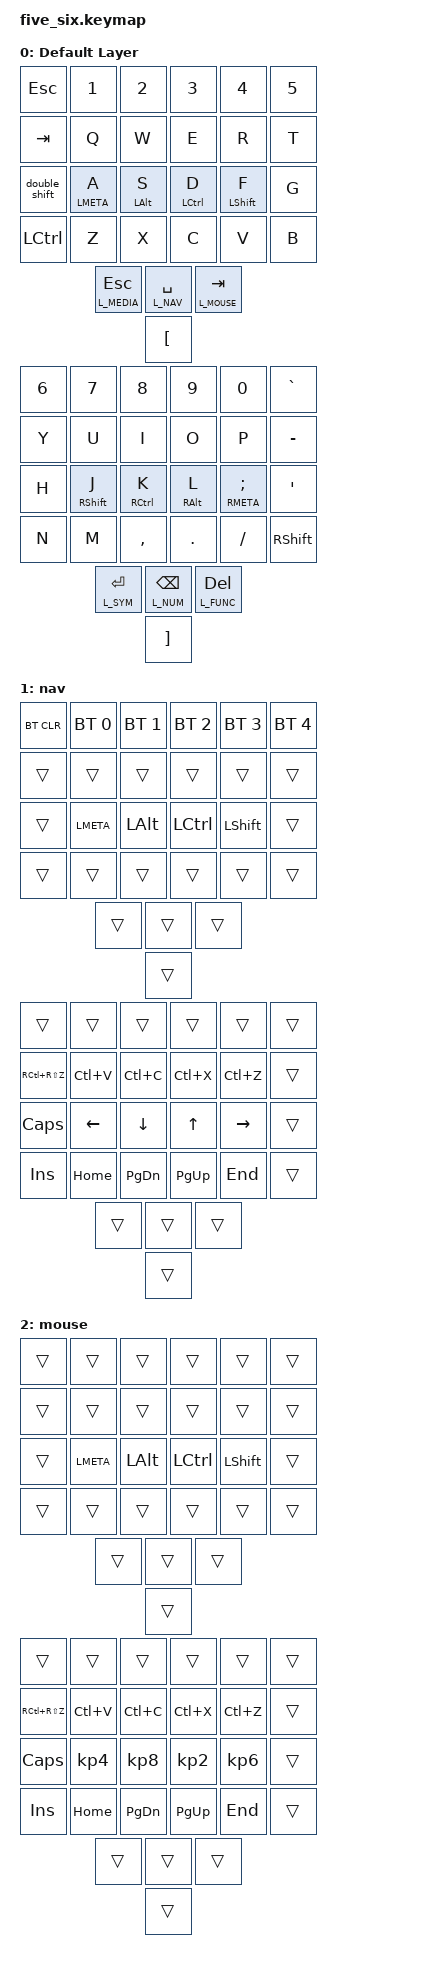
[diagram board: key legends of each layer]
/*
 * Copyright (c) 2020 The ZMK Contributors
 *
 * SPDX-License-Identifier: MIT
 */

#include <behaviors.dtsi>
#include <dt-bindings/zmk/keys.h>
#include <dt-bindings/zmk/bt.h>

#define L_BASE 0
#define L_NAV 1
#define L_MOUSE 2
#define L_QWERTY 3
#define L_NUM 4
#define L_SYM 5
#define L_FUNC 6
#define L_BT 7
#define L_MEDIA 8


// colemak macros
#define A_LMETA &mt LMETA A
#define R_LALT  &mt LALT R
#define S_LCTRL &mt LCTRL S
#define T_LSHFT &mt LSHFT T
#define N_RSHFT &mt RSHFT N
#define E_RCTRL &mt RCTRL E
#define I_RALT  &mt RALT I
#define O_RMETA &mt RMETA O

// qwerty versions
// a is the same
#define S_LALT  &mt LALT S
#define D_LCTRL &mt LCTRL D
#define F_LSHFT &mt LSHFT F
#define J_RSHFT &mt RSHFT J
#define K_RCTRL &mt RCTRL K
#define L_RALT  &mt RALT L
#define SEMI_RMETA &mt RMETA SEMI

// miryokulike
#define MEDIA_ESC &lt L_MEDIA ESC
#define NAV_SPC &lt L_NAV SPACE
#define MOUSE_TAB &lt L_MOUSE TAB 
#define SYM_ENT &lt L_SYM ENTER
#define NUM_BSPC &lt L_NUM BSPC
#define FUNC_DEL &lt L_FUNC DEL

#define ______ &trans

&caps_word {
    continue-list = <UNDERSCORE MINUS>;
};
&lt {
    tapping-term-ms = <200>;
    quick-tap-ms = <200>;
};

&mt {
    tapping-term-ms = <300>;
    quick-tap-ms = <200>;
};

// ┌───────────────┬───────────────┬───────────────┬───────────────┬───────────────┬───────────────┬───────────────┬───────────────┬───────────────┬───────────────┬───────────────┬───────────────┬───────────────┬───────────────┐
// ├───────────────┼───────────────┼───────────────┼───────────────┼───────────────┼───────────────┼───────────────┼───────────────┼───────────────┼───────────────┼───────────────┼───────────────┼───────────────┼───────────────┤
// ├───────────────┼───────────────┼───────────────┼───────────────┼───────────────┼───────────────┼───────────────┼───────────────┼───────────────┼───────────────┼───────────────┼───────────────┼───────────────┼───────────────┤
// ├───────────────┼───────────────┼───────────────┼───────────────┼───────────────┼───────────────┼───────────────┼───────────────┼───────────────┼───────────────┼───────────────┼───────────────┼───────────────┼───────────────┤
// ├───────────────┴──────────┬────┴───────────────┴┬──────────────┴───┬───────────┴────────┬──────┴───────┬───────┴────┬──────────┴──────┬────────┴────────┬──────┴───────────────┴─────┬─────────┴───────────────┼───────────────┤
// └──────────────────────────┴─────────────────────┴──────────────────┴────────────────────┴──────────────┴────────────┴─────────────────┴─────────────────┴────────────────────────────┴─────────────────────────┴───────────────┘



/ {
    macros {
        tln_base: type_base {
            label = "Type Base";
            compatible = "zmk,behavior-macro";
            #binding-cells = <0>;
            bindings = <&kp B &kp A &kp S &kp E>;
        };
        tln_nav: type_nav {
            label = "Type nav";
            compatible = "zmk,behavior-macro";
            #binding-cells = <0>;
            bindings = <&kp N &kp A &kp V>;
        };
        tln_mouse: type_mouse {
            label = "Type mouse";
            compatible = "zmk,behavior-macro";
            #binding-cells = <0>;
            bindings = <&kp M &kp O &kp U &kp S &kp E>;
        };
        tln_qwerty: type_qwerty {
            label = "Type qwerty";
            compatible = "zmk,behavior-macro";
            #binding-cells = <0>;
            bindings = <&kp Q &kp W &kp E &kp R &kp T &kp Y>;
        };
    };
};

/ {
    behaviors {
        // toggle qwerty if the K key is tapped twice
        rctl_toggle_qwerty: rctl_toggle_qwerty {
            label = "TOG_QWERTY";
            compatible = "zmk,behavior-tap-dance";
            #binding-cells = <0>;
            bindings =  < &kp RCTRL >, < &tog L_QWERTY >, < &tog L_BASE >;
        };

        rctl_toggle_base: rctl_toggle_base {
            label = "UNTOG_QWERTY";
            compatible = "zmk,behavior-tap-dance";
            #binding-cells = <0>;
            bindings =  < &kp RCTRL >, < &tog L_QWERTY >, < &tog L_BASE >;
        };

        bt_tapdance: bt_tapdance {
            label = "Switch bluetooth and clear profiles";
            compatible = "zmk,behavior-tap-dance";
            #binding-cells = <0>;
            bindings = < &bt BT_NXT >, < &bt BT_SEL 0 >, <&bt BT_CLR>;
        };

        double_shift: double_shift_capsword {
            label = "Double Shift Capsword";
            compatible = "zmk,behavior-tap-dance";
            #binding-cells = <0>;
            bindings = < &kp LSHFT >, < &caps_word >;
        };
    };
};

/ {
    keymap {
        compatible = "zmk,keymap";

        default_layer {
            display-name = "Default Layer";
            bindings = <
// ┌────────────┬────────────┬────────────┬────────────┬────────────┬────────────┐
      &kp ESC        &kp N1        &kp N2      &kp N3       &kp N4       &kp N5
// ├────────────┼────────────┼────────────┼────────────┼────────────┼────────────┤
      &kp TAB        &kp Q         &kp W       &kp E        &kp R        &kp T
// ├────────────┼────────────┼────────────┼────────────┼────────────┼────────────┤
    &double_shift  A_LMETA       S_LALT      D_LCTRL      F_LSHFT        &kp G
// ├────────────┼────────────┼────────────┼────────────┼────────────┼────────────┤
      &kp LCTRL      &kp Z         &kp X       &kp C        &kp V        &kp B
// └────────────┴────────────┴────────────┴─────┬──────┴─────┬──────┴─────┬──────┴─────┐
                                                  MEDIA_ESC     NAV_SPC      MOUSE_TAB 
//                                              └────────────┴────────────┴──────┬─────┴──────┐
                                                                                    &kp LBKT
//                                                                               └────────────┘

//              ┌────────────┬────────────┬────────────┬────────────┬────────────┬────────────┐
                     &kp N6       &kp N7     &kp N8       &kp N9       &kp N0      &kp GRAVE
//              ├────────────┼────────────┼────────────┼────────────┼────────────┼────────────┤
                     &kp Y        &kp U      &kp I        &kp O        &kp P       &kp MINUS
//              ├────────────┼────────────┼────────────┼────────────┼────────────┼────────────┤
                     &kp H      J_RSHFT       K_RCTRL     L_RALT      SEMI_RMETA   &kp SQT
//              ├────────────┼────────────┼────────────┼────────────┼────────────┼────────────┤
                     &kp N        &kp M      &kp COMMA    &kp DOT      &kp FSLH    &kp RSHFT
//        ┌─────┴──────┬─────┴──────┬─────┴──────┬─────┴────────────┴────────────┴────────────┘
             SYM_ENT     NUM_BSPC     FUNC_DEL
// ┌──────┴─────┬──────┴────────────┴────────────┘
      &kp RBKT
// └────────────┘
         >;
               };
       
               nav_layer {
                               label = "nav";
                               bindings = <
// ┌────────────┬────────────┬────────────┬────────────┬────────────┬────────────┐
    &bt BT_CLR   &bt BT_SEL 0 &bt BT_SEL 1 &bt BT_SEL 2 &bt BT_SEL 3 &bt BT_SEL 4   
// ├────────────┼────────────┼────────────┼────────────┼────────────┼────────────┤
       ______       ______       ______       ______       ______       ______
// ├────────────┼────────────┼────────────┼────────────┼────────────┼────────────┤
       ______      &kp LMETA    &kp LALT    &kp LCTRL     &kp LSHFT     ______
// ├────────────┼────────────┼────────────┼────────────┼────────────┼────────────┤
       ______       ______       ______       ______       ______       ______
// └────────────┴────────────┴────────────┴─────┬──────┴─────┬──────┴─────┬──────┴─────┐
                                                    ______       ______       ______ 
//                                              └────────────┴────────────┴──────┬─────┴──────┐
                                                                                     ______
//                                                                               └────────────┘

//              ┌────────────┬────────────┬────────────┬────────────┬────────────┬────────────┐
                    ______       ______       ______       ______       ______       ______
//              ├────────────┼────────────┼────────────┼────────────┼────────────┼────────────┤
                 &kp RC(RS(Z))  &kp LC(V)    &kp LC(C)   &kp LC(X)    &kp LC(Z)      ______
//              ├────────────┼────────────┼────────────┼────────────┼────────────┼────────────┤
                 &kp CAPS       &kp LEFT     &kp DOWN    &kp UP       &kp RIGHT      ______
//              ├────────────┼────────────┼────────────┼────────────┼────────────┼────────────┤
                 &kp INS        &kp HOME     &kp PG_DN   &kp PG_UP     &kp END       ______
//        ┌─────┴──────┬─────┴──────┬─────┴──────┬─────┴────────────┴────────────┴────────────┘
             ______       ______       ______    
// ┌──────┴─────┬──────┴────────────┴────────────┘
      ______
// └────────────┘
                    >;
               };
       
               mouse_layer {
                       label = "mouse";
                       bindings = <
// ┌────────────┬────────────┬────────────┬────────────┬────────────┬────────────┐
        ______       ______       ______       ______       ______       ______
// ├────────────┼────────────┼────────────┼────────────┼────────────┼────────────┤
        ______       ______       ______       ______       ______       ______
// ├────────────┼────────────┼────────────┼────────────┼────────────┼────────────┤
        ______     &kp LMETA    &kp LALT    &kp LCTRL     &kp LSHFT      ______
// ├────────────┼────────────┼────────────┼────────────┼────────────┼────────────┤
        ______       ______       ______       ______       ______       ______
// └────────────┴────────────┴────────────┴─────┬──────┴─────┬──────┴─────┬──────┴─────┐
                                                    ______       ______       ______ 
//                                              └────────────┴────────────┴──────┬─────┴──────┐
                                                                                    ______
//                                                                               └────────────┘

//              ┌────────────┬────────────┬────────────┬────────────┬────────────┬────────────┐
                    ______       ______       ______       ______       ______       ______
//              ├────────────┼────────────┼────────────┼────────────┼────────────┼────────────┤
                  &kp RC(RS(Z)) &kp LC(V)   &kp LC(C)    &kp LC(X)    &kp LC(Z)      ______
//              ├────────────┼────────────┼────────────┼────────────┼────────────┼────────────┤
                  &kp CAPS      &kp KP_N4   &kp KP_N8    &kp KP_N2    &kp KP_N6      ______
//              ├────────────┼────────────┼────────────┼────────────┼────────────┼────────────┤
                  &kp INS       &kp HOME    &kp PG_DN    &kp PG_UP    &kp END        ______
//        ┌─────┴──────┬─────┴──────┬─────┴──────┬─────┴────────────┴────────────┴────────────┘
            ______       ______       ______    
// ┌──────┴─────┬──────┴────────────┴────────────┘
        ______
// └────────────┘
                    >;
                };
            };
        };
       
       //         num_layer {
           //             label = "num";
           //             bindings = <
           // &kp LBKT     &kp N7       &kp N8       &kp N9       &kp RBKT                                              ______       ______       ______       ______       ______
           // &kp SEMI     &kp N4       &kp N5       &kp N6       &kp EQUAL                                             ______       &kp LSHFT    &kp LCTRL    &kp LALT     &kp LMETA
           // &kp GRAVE    &kp N1       &kp N2       &kp N3       &kp BSLH     ______   ______         ______   ______  ______       ______       ______       ______       ______
           //              ______       &kp DOT      &kp N0       &kp MINUS    ______                           ______  ______       ______       ______
           //             >;
       //         };tt
       
       //         symbol_layer {aattttt
           //             label = "symbol";
           //             bindings = <
           // &kp LBRC     &kp AMPS     &kp ASTRK    &kp LPAR     &kp RBRC                                                     ______       ______       ______       ______       ______
           // &kp COLON    &kp DLLR     &kp PRCNT    &kp CARET    &kp PLUS                                                     ______       &kp LSHFT    &kp LCTRL    &kp LALT     &kp LMETA
           // &kp TILDE    &kp EXCL     &kp AT       &kp HASH     &kp PIPE     ______  ______            ______   ______     ______       ______       ______       ______       ______
           //                           ______       &kp LPAR     &kp  RPAR    &kp UNDER                          ______     ______       ______       ______
           //             >;
       //         };
       
       //         function_layer {
           //             label = "function";
           //             bindings = <
           // &kp F12    &kp F7       &kp F8       &kp F9       &kp PSCRN                                           &kp F13       &kp F14     &kp F15   &kp F16  &kp F17
           // &kp F11    &kp F4       &kp F5       &kp F6       &kp SLCK                                            ______       &kp LSHFT    &kp LCTRL    &kp LALT     &kp LMETA
           // &kp F10    &kp F1       &kp F2       &kp F3       &kp PAUSE_BREAK  ______  ______            ______  ______    &kp F18       &kp F19       &kp F20       &kp F21   &kp F22
           //                         ______       &kp K_APP    &kp SPACE        &kp TAB                  ______    ______       ______       ______
           //             >;
       //         };
       
       //         bluetooth {
           //                         bindings = <
           // &bt BT_SEL 0 &bt BT_SEL 1 &bt BT_SEL 2 &bt BT_SEL 3 ______                                        &bt BT_SEL 0 &bt BT_SEL 1 &bt BT_SEL 2 &bt BT_SEL 3 ______
           // ______       ______       ______       ______       ______                                        ______     ______    ______  ______  ______
           // ______       ______       ______       ______       ______  ______  ______        ______  ______  ______     ______    ______  ______ ______
           //                              ______       ______       ______  ______                     ______  ______     ______    ______
           //                         >;
       //                 };
       //         };
             
//         lower_layer {
//             display-name = "Lower Layer";
// // ------------------------------------------------------------------------------------------------------------
// // | BTCLR | BT1 | BT2 |  BT3 |  BT4 |  BT5 |                   |      |       |       |      |       |       |
// // |  F1   |  F2 |  F3 |  F4  |  F5  |  F6  |                   |  F7  |  F8   |  F9   |  F10 |  F11  |  F12  |
// // |   `   |  !  |  @  |  #   |  $   |  %   |                   |  ^   |  &    |  *    |  (   |   )   |   ~   |
// // |       |     |     |      |      |      |        |  |       |      |  _    |  +    |  {   |   }   |  "|"  |
// //                            |      |      |        |  |       |      |       |
//             bindings = <
// &bt BT_CLR &bt BT_SEL 0 &bt BT_SEL 1 &bt BT_SEL 2 &bt BT_SEL 3 &bt BT_SEL 4                &trans    &trans    &trans    &trans    &trans    &trans
// &kp F1     &kp F2       &kp F3       &kp F4       &kp F5       &kp F6                      &kp F7    &kp F8    &kp F9    &kp F10   &kp F11   &kp F12
// &kp GRAVE  &kp EXCL     &kp AT       &kp HASH     &kp DOLLAR   &kp PRCNT                   &kp CARET &kp AMPS  &kp ASTRK &kp LPAR  &kp RPAR  &kp TILDE
// &trans     &trans       &trans       &trans       &trans       &trans    &trans   &trans   &trans    &kp MINUS &kp PLUS  &kp LBRC  &kp RBRC  &kp PIPE
//                                                   &trans       &trans    &trans   &trans   &trans    &trans
//             >;
//         };

//         raise_layer {
//             display-name = "Raise Layer";
// // ------------------------------------------------------------------------------------------------------------
// // |       |     |     |      |      |      |                   |      |       |       |      |       |       |
// // |   `   |  1  |  2  |  3   |  4   |  5   |                   |  6   |   7   |   8   |  9   |   0   |       |
// // |   F1  |  F2 |  F3 |  F4  |  F5  |  F6  |                   |      |   <-  |   ^   |  v   |  ->   |       |
// // |   F7  |  F8 |  F9 |  F10 |  F11 |  F12 |        |  |       |  +   |   -   |   =   |  [   |   ]   |   \   |
// //                            |      |      |        |  |       |      |       |
//             bindings = <
// &trans    &trans &trans &trans  &trans  &trans                       &trans      &trans    &trans    &trans   &trans    &trans
// &kp GRAVE &kp N1 &kp N2 &kp N3  &kp N4  &kp N5                       &kp N6      &kp N7    &kp N8    &kp N9   &kp N0    &trans
// &kp F1    &kp F2 &kp F3 &kp F4  &kp F5  &kp F6                       &trans      &kp LEFT  &kp DOWN  &kp UP   &kp RIGHT &trans
// &kp F7    &kp F8 &kp F9 &kp F10 &kp F11 &kp F12   &trans   &trans    &kp KP_PLUS &kp MINUS &kp EQUAL &kp LBKT &kp RBKT  &kp BSLH
//                                 &trans  &trans    &trans   &trans    &trans      &trans
//             >;
//         };


/*
// ┌────────────┬────────────┬────────────┬────────────┬────────────┬────────────┐
       ______       ______       ______       ______       ______       ______
// ├────────────┼────────────┼────────────┼────────────┼────────────┼────────────┤
       ______       ______       ______       ______       ______       ______
// ├────────────┼────────────┼────────────┼────────────┼────────────┼────────────┤
       ______       ______       ______       ______       ______       ______
// ├────────────┼────────────┼────────────┼────────────┼────────────┼────────────┤
       ______       ______       ______       ______       ______       ______
// └────────────┴────────────┴────────────┴─────┬──────┴─────┬──────┴─────┬──────┴─────┐
                                                    ______       ______       ______ 
//                                              └────────────┴────────────┴──────┬─────┴──────┐
                                                                                    ______
//                                                                               └────────────┘

//              ┌────────────┬────────────┬────────────┬────────────┬────────────┬────────────┐
                    ______       ______       ______       ______       ______       ______
//              ├────────────┼────────────┼────────────┼────────────┼────────────┼────────────┤
                    ______       ______       ______       ______       ______       ______
//              ├────────────┼────────────┼────────────┼────────────┼────────────┼────────────┤
                    ______       ______       ______       ______       ______       ______
//              ├────────────┼────────────┼────────────┼────────────┼────────────┼────────────┤
                    ______       ______       ______       ______       ______       ______
//        ┌─────┴──────┬─────┴──────┬─────┴──────┬─────┴────────────┴────────────┴────────────┘
             ______       ______       ______    
// ┌──────┴─────┬──────┴────────────┴────────────┘
      ______
// └────────────┘
*/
